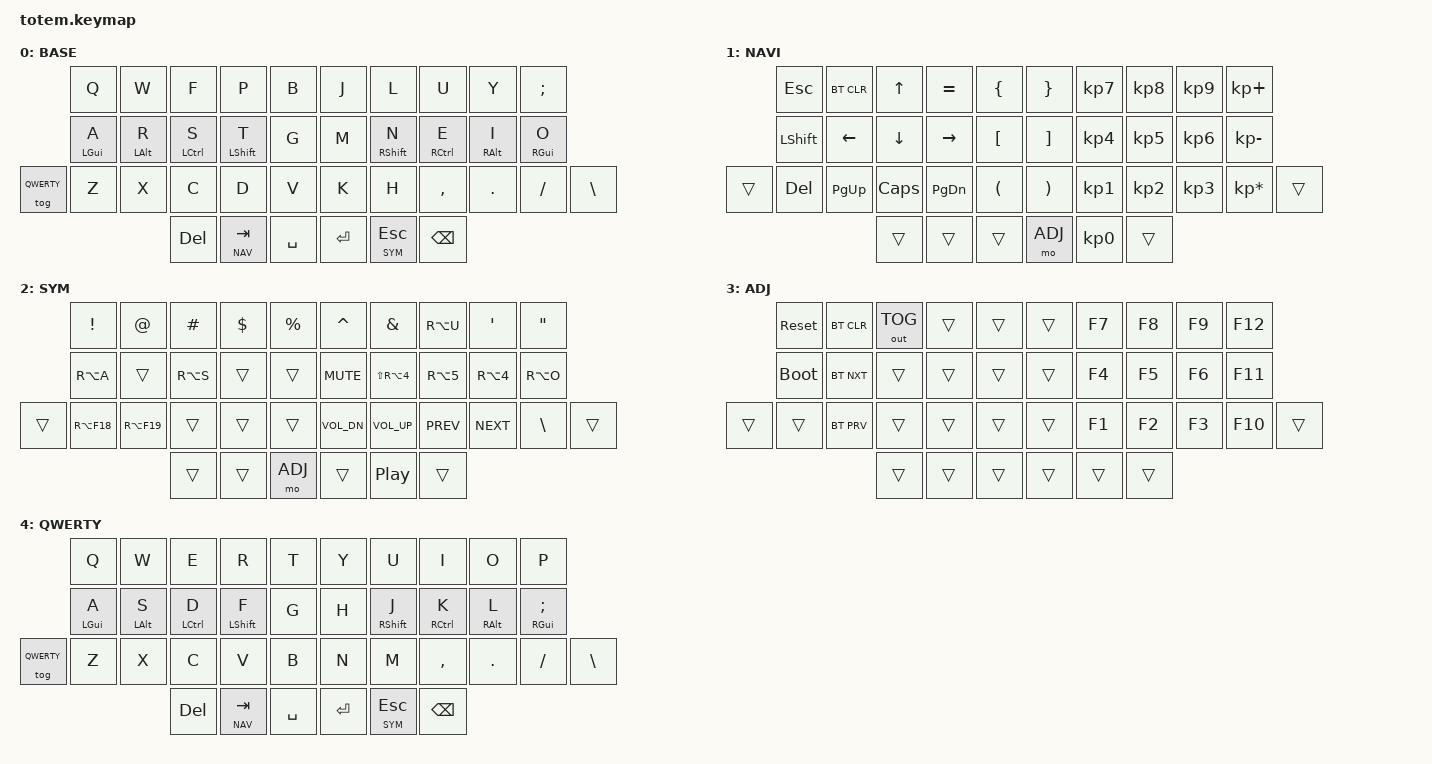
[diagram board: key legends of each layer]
//
//                                                        ▀▀▀▀▀     ▀▀▀▀▀          ▀▀█▀▀
//                                                        ▄▀▀▀▄  ▄  ▄▀▀▀▄  ▄  ▄▀▀▀▄  █  ▄▀▀▀▄
//                                                        █   █  █  █   █  █  █   █  █  █   █
//                                                         ▀▀▀   █   ▀▀▀   █   ▀▀▀   ▀   ▀▀▀
//                                                               █      ▄▄▄█▄▄▄    █   █
//                                                               ▀      █  █  █     █▄█
//                                                             ▀▀▀▀▀    █  █  █      ▀
//                                                                      ▀  ▀  ▀
//
// ▄▄▄▄▄▄▄▄▄▄▄▄▄▄▄▄▄▄▄▄▄▄▄▄▄▄▄▄▄▄▄▄▄▄▄▄▄▄▄▄▄▄▄▄▄▄▄▄▄▄▄▄▄▄▄▄▄▄▄▄▄▄▄▄▄▄▄▄▄▄▄▄▄▄▄▄▄▄▄▄▄▄▄▄▄▄▄▄▄▄▄▄▄▄▄▄▄▄▄▄▄▄▄▄▄▄▄▄▄▄▄▄▄▄▄▄▄▄▄▄▄▄▄▄▄▄▄▄▄▄▄▄▄▄▄▄▄▄▄▄▄▄▄▄▄▄▄▄▄


#include <behaviors.dtsi>
#include <dt-bindings/zmk/keys.h>
#include <dt-bindings/zmk/bt.h>
#include <dt-bindings/zmk/outputs.h>

#include "zmk-helpers/helper.h"

// Source desired key-position labels
#include "zmk-helpers/key-labels/totem.h"

#define BASE 0
#define NAV  1
#define SYM  2
#define ADJ  3
#define QWERTY 4

/* Timeless homerow mods */

// https://github.com/urob/zmk-config/tree/main#timeless-homerow-mods
#define KEYS_L LT0 LT1 LT2 LT3 LT4 LM0 LM1 LM2 LM3 LM4 LB0 LB1 LB2 LB3 LB4 LB5  // left hand
#define KEYS_R RT0 RT1 RT2 RT3 RT4 RM0 RM1 RM2 RM3 RM4 RB0 RB1 RB2 RB3 RB4 RB5  // right hand
#define THUMBS LH2 LH1 LH0 RH0 RH1 RH2                                          // thumbs

/ {
        keymap {
                compatible = "zmk,keymap";
// ▄▄▄▄▄▄▄▄▄▄▄▄▄▄▄▄▄▄▄▄▄▄▄▄▄▄▄▄▄▄▄▄▄▄▄▄▄▄▄▄▄▄▄▄▄▄▄▄▄▄▄▄▄▄▄▄▄▄▄▄▄▄▄▄▄▄▄▄▄▄▄▄▄▄▄▄▄▄▄▄▄▄▄▄▄▄▄▄▄▄▄▄▄▄▄▄▄▄▄▄▄▄▄▄▄▄▄▄▄▄▄▄▄▄▄▄▄▄▄▄▄▄▄▄▄▄▄▄▄▄▄▄▄▄▄▄▄▄▄▄▄▄▄▄▄▄▄▄▄

                base_layer {
// ┏━━━━━━━━━━━━━━━━━━━━━━━━━━━━━━━━━━━━━━━┓
label= "BASE"                              ;
// ┗━━━━━━━━━━━━━━━━━━━━━━━━━━━━━━━━━━━━━━━┛
//             ┏━━━━━━━━━━━┳━━━━━━━━━━━┳━━━━━━━━━━━┳━━━━━━━━━━━┳━━━━━━━━━━━┓   ┏━━━━━━━━━━━┳━━━━━━━━━━━┳━━━━━━━━━━━┳━━━━━━━━━━━┳━━━━━━━━━━━┓
//             ┃     Q     ┃     W     ┃     F     ┃     P     ┃     B     ┃   ┃     J     ┃     L     ┃     U     ┃     Y     ┃     ;     ┃
//             ┣━━━━━━━━━━━╋━━━━━━━━━━━╋━━━━━━━━━━━╋━━━━━━━━━━━╋━━━━━━━━━━━┫   ┣━━━━━━━━━━━╋━━━━━━━━━━━╋━━━━━━━━━━━╋━━━━━━━━━━━╋━━━━━━━━━━━┫
//             ┃     A     ┃     R     ┃     S     ┃     T     ┃     G     ┃   ┃     M     ┃     N     ┃     E     ┃     I     ┃     O     ┃
// ┏━━━━━━━━━━━╋━━━━━━━━━━━╋━━━━━━━━━━━╋━━━━━━━━━━━╋━━━━━━━━━━━╋━━━━━━━━━━━┫   ┣━━━━━━━━━━━╋━━━━━━━━━━━╋━━━━━━━━━━━╋━━━━━━━━━━━╋━━━━━━━━━━━╋━━━━━━━━━━━┓
// ┃  QWERTY   ┃     Z     ┃     X     ┃     C     ┃     D     ┃     V     ┃   ┃     K     ┃     H     ┃     ,     ┃     .     ┃     /     ┃     \     ┃
// ┗━━━━━━━━━━━┻━━━━━━━━━━━┻━━━━━━━━━━━╋━━━━━━━━━━━╋━━━━━━━━━━━╋━━━━━━━━━━━┫   ┣━━━━━━━━━━━╋━━━━━━━━━━━╋━━━━━━━━━━━╋━━━━━━━━━━━┻━━━━━━━━━━━┻━━━━━━━━━━━┛
//                                     ┃    DEL    ┃    TAB    ┃    SPC    ┃   ┃   ENTER   ┃    ESC    ┃   BSPC    ┃
//                                     ┗━━━━━━━━━━━┻━━━━━━━━━━━┻━━━━━━━━━━━┛   ┗━━━━━━━━━━━┻━━━━━━━━━━━┻━━━━━━━━━━━┛
 bindings = <
// ╷           ╷           ╷           ╷           ╷           ╷           ╷   ╷           ╷           ╷           ╷           ╷           ╷           ╷

                &kp Q       &kp W       &kp F       &kp P       &kp B           &kp J       &kp L       &kp U       &kp Y       &kp SEMI
                &hml LGUI A &hml LALT R &hml LCTRL S &hml LSHFT T &kp G         &kp M       &hmr RSHFT N &hmr RCTRL E &hmr RALT I  &hmr RGUI O
    &tog QWERTY &kp Z       &kp X       &kp C       &kp D       &kp V           &kp K       &kp H       &kp COMMA   &kp DOT     &kp FSLH    &kp BSLH
                                        &kp DEL   &lt NAV TAB   &kp SPACE       &kp RET   &lt SYM ESC   &kp BSPC
                        >;
                };

// ▄▄▄▄▄▄▄▄▄▄▄▄▄▄▄▄▄▄▄▄▄▄▄▄▄▄▄▄▄▄▄▄▄▄▄▄▄▄▄▄▄▄▄▄▄▄▄▄▄▄▄▄▄▄▄▄▄▄▄▄▄▄▄▄▄▄▄▄▄▄▄▄▄▄▄▄▄▄▄▄▄▄▄▄▄▄▄▄▄▄▄▄▄▄▄▄▄▄▄▄▄▄▄▄▄▄▄▄▄▄▄▄▄▄▄▄▄▄▄▄▄▄▄▄▄▄▄▄▄▄▄▄▄▄▄▄▄▄▄▄▄▄▄▄▄▄▄▄▄


                nav_layer {
// ┏━━━━━━━━━━━━━━━━━━━━━━━━━━━━━━━━━━━━━━━┓
label= "NAVI"                              ;
// ┗━━━━━━━━━━━━━━━━━━━━━━━━━━━━━━━━━━━━━━━┛
//             ┏━━━━━━━━━━━┳━━━━━━━━━━━┳━━━━━━━━━━━┳━━━━━━━━━━━┳━━━━━━━━━━━┓   ┏━━━━━━━━━━━┳━━━━━━━━━━━┳━━━━━━━━━━━┳━━━━━━━━━━━┳━━━━━━━━━━━┓
//             ┃           ┃           ┃     UP    ┃           ┃     {     ┃   ┃     }     ┃     7     ┃     8     ┃     9     ┃     +     ┃
//             ┣━━━━━━━━━━━╋━━━━━━━━━━━╋━━━━━━━━━━━╋━━━━━━━━━━━╋━━━━━━━━━━━┫   ┣━━━━━━━━━━━╋━━━━━━━━━━━╋━━━━━━━━━━━╋━━━━━━━━━━━╋━━━━━━━━━━━┫
//             ┃   SHIFT   ┃   LEFT    ┃    DOWN   ┃   RIGHT   ┃     [     ┃   ┃     ]     ┃     4     ┃     5     ┃     6     ┃     -     ┃
// ┏━━━━━━━━━━━╋━━━━━━━━━━━╋━━━━━━━━━━━╋━━━━━━━━━━━╋━━━━━━━━━━━╋━━━━━━━━━━━┫   ┣━━━━━━━━━━━╋━━━━━━━━━━━╋━━━━━━━━━━━╋━━━━━━━━━━━╋━━━━━━━━━━━╋━━━━━━━━━━━┓
// ┃           ┃           ┃   P UP    ┃  C LOCK   ┃  P DOWN   ┃     (     ┃   ┃     )     ┃     1     ┃     2     ┃     3     ┃     *     ┃           ┃
// ┗━━━━━━━━━━━┻━━━━━━━━━━━┻━━━━━━━━━━━╋━━━━━━━━━━━╋━━━━━━━━━━━╋━━━━━━━━━━━┫   ┣━━━━━━━━━━━╋━━━━━━━━━━━╋━━━━━━━━━━━╋━━━━━━━━━━━┻━━━━━━━━━━━┻━━━━━━━━━━━┛
//                                     ┃           ┃    TAB    ┃    SPC    ┃   ┃    DEL    ┃     0     ┃           ┃
//                                     ┗━━━━━━━━━━━┻━━━━━━━━━━━┻━━━━━━━━━━━┛   ┗━━━━━━━━━━━┻━━━━━━━━━━━┻━━━━━━━━━━━┛
 bindings = <
// ╷           ╷           ╷           ╷           ╷           ╷           ╷   ╷           ╷           ╷           ╷           ╷           ╷           ╷

                &kp ESC     &bt BT_CLR  &kp UP      &kp EQUAL   &kp LBRC        &kp RBRC    &kp KP_N7   &kp KP_N8   &kp KP_N9   &kp KP_PLUS
                &kp LSHFT   &kp LEFT    &kp DOWN    &kp RIGHT   &kp LBKT        &kp RBKT    &kp KP_N4   &kp KP_N5   &kp KP_N6   &kp KP_MINUS
    &trans      &kp DEL     &kp PG_UP   &kp CAPS    &kp PG_DN   &kp LPAR        &kp RPAR    &kp KP_N1   &kp KP_N2   &kp KP_N3   &kp KP_MULTIPLY &trans
                                        &trans      &trans      &trans          &mo ADJ     &kp KP_N0   &trans
                        >;
                };

// ▄▄▄▄▄▄▄▄▄▄▄▄▄▄▄▄▄▄▄▄▄▄▄▄▄▄▄▄▄▄▄▄▄▄▄▄▄▄▄▄▄▄▄▄▄▄▄▄▄▄▄▄▄▄▄▄▄▄▄▄▄▄▄▄▄▄▄▄▄▄▄▄▄▄▄▄▄▄▄▄▄▄▄▄▄▄▄▄▄▄▄▄▄▄▄▄▄▄▄▄▄▄▄▄▄▄▄▄▄▄▄▄▄▄▄▄▄▄▄▄▄▄▄▄▄▄▄▄▄▄▄▄▄▄▄▄▄▄▄▄▄▄▄▄▄▄▄▄▄


                sim_layer {
// ┏━━━━━━━━━━━━━━━━━━━━━━━━━━━━━━━━━━━━━━━┓
label= "SYM"                               ;
// ┗━━━━━━━━━━━━━━━━━━━━━━━━━━━━━━━━━━━━━━━┛
//             ┏━━━━━━━━━━━┳━━━━━━━━━━━┳━━━━━━━━━━━┳━━━━━━━━━━━┳━━━━━━━━━━━┓   ┏━━━━━━━━━━━┳━━━━━━━━━━━┳━━━━━━━━━━━┳━━━━━━━━━━━┳━━━━━━━━━━━┓
//             ┃     !     ┃     @     ┃     #     ┃     $     ┃     %     ┃   ┃     ˆ     ┃     &     ┃     Ü     ┃     '     ┃     "     ┃
//             ┣━━━━━━━━━━━╋━━━━━━━━━━━╋━━━━━━━━━━━╋━━━━━━━━━━━╋━━━━━━━━━━━┫   ┣━━━━━━━━━━━╋━━━━━━━━━━━╋━━━━━━━━━━━╋━━━━━━━━━━━╋━━━━━━━━━━━┫
//             ┃     Ä     ┃           ┃    SZ     ┃           ┃           ┃   ┃   MUTE    ┃   YEN     ┃   EURO    ┃  POUND    ┃     Ö     ┃
// ┏━━━━━━━━━━━╋━━━━━━━━━━━╋━━━━━━━━━━━╋━━━━━━━━━━━╋━━━━━━━━━━━╋━━━━━━━━━━━┫   ┣━━━━━━━━━━━╋━━━━━━━━━━━╋━━━━━━━━━━━╋━━━━━━━━━━━╋━━━━━━━━━━━╋━━━━━━━━━━━┓
// ┃           ┃  EMAIL1   ┃  EMAIL2   ┃           ┃           ┃           ┃   ┃   VOL-    ┃   VOL+    ┃   LAST    ┃   NEXT    ┃     \     ┃           ┃
// ┗━━━━━━━━━━━┻━━━━━━━━━━━┻━━━━━━━━━━━╋━━━━━━━━━━━╋━━━━━━━━━━━╋━━━━━━━━━━━┫   ┣━━━━━━━━━━━╋━━━━━━━━━━━╋━━━━━━━━━━━╋━━━━━━━━━━━┻━━━━━━━━━━━┻━━━━━━━━━━━┛
//                                     ┃           ┃           ┃    ADJ    ┃   ┃           ┃           ┃           ┃
//                                     ┗━━━━━━━━━━━┻━━━━━━━━━━━┻━━━━━━━━━━━┛   ┗━━━━━━━━━━━┻━━━━━━━━━━━┻━━━━━━━━━━━┛
 bindings = <
// ╷           ╷           ╷           ╷           ╷           ╷           ╷   ╷           ╷           ╷           ╷           ╷           ╷           ╷

                &kp EXCL    &kp AT      &kp HASH    &kp DLLR    &kp PRCNT       &kp CARET   &kp AMPS    &kp RA(U)   &kp SQT     &kp DQT
                &kp RA(A)   &trans      &kp RA(S)   &trans      &trans          &kp C_MUTE  &kp LS(RA(N4)) &kp RA(N5) &kp RA(N4)   &kp RA(O)
    &trans      &kp RA(F18) &kp RA(F19) &trans      &trans      &trans          &kp C_VOL_DN &kp C_VOL_UP &kp C_PREV &kp C_NEXT  &kp BSLH   &trans
                                        &trans      &trans      &mo ADJ         &trans       &kp C_PP     &trans
                        >;
                };

// ▄▄▄▄▄▄▄▄▄▄▄▄▄▄▄▄▄▄▄▄▄▄▄▄▄▄▄▄▄▄▄▄▄▄▄▄▄▄▄▄▄▄▄▄▄▄▄▄▄▄▄▄▄▄▄▄▄▄▄▄▄▄▄▄▄▄▄▄▄▄▄▄▄▄▄▄▄▄▄▄▄▄▄▄▄▄▄▄▄▄▄▄▄▄▄▄▄▄▄▄▄▄▄▄▄▄▄▄▄▄▄▄▄▄▄▄▄▄▄▄▄▄▄▄▄▄▄▄▄▄▄▄▄▄▄▄▄▄▄▄▄▄▄▄▄▄▄▄▄


                adjust_layer {
// ┏━━━━━━━━━━━━━━━━━━━━━━━━━━━━━━━━━━━━━━━┓
label= "ADJ"                               ;
// ┗━━━━━━━━━━━━━━━━━━━━━━━━━━━━━━━━━━━━━━━┛
//             ┏━━━━━━━━━━━┳━━━━━━━━━━━┳━━━━━━━━━━━┳━━━━━━━━━━━┳━━━━━━━━━━━┓   ┏━━━━━━━━━━━┳━━━━━━━━━━━┳━━━━━━━━━━━┳━━━━━━━━━━━┳━━━━━━━━━━━┓
//             ┃   RESET   ┃ BT CLEAR  ┃  OUT TOG  ┃           ┃           ┃   ┃           ┃    F7     ┃    F8     ┃    F9     ┃    F12    ┃
//             ┣━━━━━━━━━━━╋━━━━━━━━━━━╋━━━━━━━━━━━╋━━━━━━━━━━━╋━━━━━━━━━━━┫   ┣━━━━━━━━━━━╋━━━━━━━━━━━╋━━━━━━━━━━━╋━━━━━━━━━━━╋━━━━━━━━━━━┫
//             ┃ BOOTLOAD  ┃ BT NEXT   ┃           ┃           ┃           ┃   ┃           ┃    F4     ┃    F5     ┃    F6     ┃    F11    ┃
// ┏━━━━━━━━━━━╋━━━━━━━━━━━╋━━━━━━━━━━━╋━━━━━━━━━━━╋━━━━━━━━━━━╋━━━━━━━━━━━┫   ┣━━━━━━━━━━━╋━━━━━━━━━━━╋━━━━━━━━━━━╋━━━━━━━━━━━╋━━━━━━━━━━━╋━━━━━━━━━━━┓
// ┃           ┃           ┃ BT PREV   ┃           ┃           ┃           ┃   ┃           ┃    F1     ┃    F2     ┃    F3     ┃    F10    ┃           ┃
// ┗━━━━━━━━━━━┻━━━━━━━━━━━┻━━━━━━━━━━━╋━━━━━━━━━━━╋━━━━━━━━━━━╋━━━━━━━━━━━┫   ┣━━━━━━━━━━━╋━━━━━━━━━━━╋━━━━━━━━━━━╋━━━━━━━━━━━┻━━━━━━━━━━━┻━━━━━━━━━━━┛
//                                     ┃           ┃           ┃           ┃   ┃           ┃           ┃           ┃
//                                     ┗━━━━━━━━━━━┻━━━━━━━━━━━┻━━━━━━━━━━━┛   ┗━━━━━━━━━━━┻━━━━━━━━━━━┻━━━━━━━━━━━┛
 bindings = <
// ╷           ╷           ╷           ╷           ╷           ╷           ╷   ╷           ╷           ╷           ╷           ╷           ╷           ╷

                &sys_reset  &bt BT_CLR &out OUT_TOG &trans      &trans          &trans      &kp F7      &kp F8      &kp F9      &kp F12
                &bootloader &bt BT_NXT  &trans      &trans      &trans          &trans      &kp F4      &kp F5      &kp F6      &kp F11
    &trans      &trans      &bt BT_PRV  &trans      &trans      &trans          &trans      &kp F1      &kp F2      &kp F3      &kp F10     &trans
                                        &trans      &trans      &trans          &trans      &trans      &trans
                        >;
                };

// ▄▄▄▄▄▄▄▄▄▄▄▄▄▄▄▄▄▄▄▄▄▄▄▄▄▄▄▄▄▄▄▄▄▄▄▄▄▄▄▄▄▄▄▄▄▄▄▄▄▄▄▄▄▄▄▄▄▄▄▄▄▄▄▄▄▄▄▄▄▄▄▄▄▄▄▄▄▄▄▄▄▄▄▄▄▄▄▄▄▄▄▄▄▄▄▄▄▄▄▄▄▄▄▄▄▄▄▄▄▄▄▄▄▄▄▄▄▄▄▄▄▄▄▄▄▄▄▄▄▄▄▄▄▄▄▄▄▄▄▄▄▄▄▄▄▄▄▄▄

                qwerty_layer {
// ┏━━━━━━━━━━━━━━━━━━━━━━━━━━━━━━━━━━━━━━━┓
label= "QWERTY"                            ;
// ┗━━━━━━━━━━━━━━━━━━━━━━━━━━━━━━━━━━━━━━━┛
//             ┏━━━━━━━━━━━┳━━━━━━━━━━━┳━━━━━━━━━━━┳━━━━━━━━━━━┳━━━━━━━━━━━┓   ┏━━━━━━━━━━━┳━━━━━━━━━━━┳━━━━━━━━━━━┳━━━━━━━━━━━┳━━━━━━━━━━━┓
//             ┃     Q     ┃     W     ┃     E     ┃     R     ┃     T     ┃   ┃     Y     ┃     U     ┃     I     ┃     O     ┃     P     ┃
//             ┣━━━━━━━━━━━╋━━━━━━━━━━━╋━━━━━━━━━━━╋━━━━━━━━━━━╋━━━━━━━━━━━┫   ┣━━━━━━━━━━━╋━━━━━━━━━━━╋━━━━━━━━━━━╋━━━━━━━━━━━╋━━━━━━━━━━━┫
//             ┃     A     ┃     S     ┃     D     ┃     F     ┃     G     ┃   ┃     H     ┃     J     ┃     K     ┃     L     ┃     ;     ┃
// ┏━━━━━━━━━━━╋━━━━━━━━━━━╋━━━━━━━━━━━╋━━━━━━━━━━━╋━━━━━━━━━━━╋━━━━━━━━━━━┫   ┣━━━━━━━━━━━╋━━━━━━━━━━━╋━━━━━━━━━━━╋━━━━━━━━━━━╋━━━━━━━━━━━╋━━━━━━━━━━━┓
// ┃   BASE    ┃     Z     ┃     X     ┃     C     ┃     V     ┃     B     ┃   ┃     N     ┃     M     ┃     ,     ┃     .     ┃     /     ┃     \     ┃
// ┗━━━━━━━━━━━┻━━━━━━━━━━━┻━━━━━━━━━━━╋━━━━━━━━━━━╋━━━━━━━━━━━╋━━━━━━━━━━━┫   ┣━━━━━━━━━━━╋━━━━━━━━━━━╋━━━━━━━━━━━╋━━━━━━━━━━━┻━━━━━━━━━━━┻━━━━━━━━━━━┛
//                                     ┃    DEL    ┃    TAB    ┃    SPC    ┃   ┃   ENTER   ┃    ESC    ┃   BSPC    ┃
//                                     ┗━━━━━━━━━━━┻━━━━━━━━━━━┻━━━━━━━━━━━┛   ┗━━━━━━━━━━━┻━━━━━━━━━━━┻━━━━━━━━━━━┛
 bindings = <
// ╷           ╷           ╷           ╷           ╷           ╷           ╷   ╷           ╷           ╷           ╷           ╷           ╷           ╷

                &kp Q       &kp W       &kp E       &kp R       &kp T           &kp Y       &kp U       &kp I       &kp O       &kp P
                &hml LGUI A  &hml LALT S &hml LCTRL D &hml LSHFT F &kp G        &kp H       &hmr RSHFT J &hmr RCTRL K &hmr RALT L  &hmr RGUI SEMI
    &tog QWERTY &kp Z       &kp X       &kp C       &kp V       &kp B           &kp N       &kp M       &kp COMMA   &kp DOT     &kp FSLH    &kp BSLH
                                        &kp DEL   &lt NAV TAB   &kp SPACE       &kp RET   &lt SYM ESC   &kp BSPC
                        >;
                };
        };
};

/* left-hand HRMs */
ZMK_HOLD_TAP(hml,
    flavor = "balanced";
    tapping-term-ms = <400>;
    quick-tap-ms = <175>;                // repeat on tap-into-hold
    require-prior-idle-ms = <150>;
    bindings = <&kp>, <&kp>;
    hold-trigger-key-positions = <KEYS_R THUMBS>;
    hold-trigger-on-release;             // delay positional check until key-release
)

/* right-hand HRMs */
ZMK_HOLD_TAP(hmr,
    flavor = "balanced";
    tapping-term-ms = <400>;
    quick-tap-ms = <175>;                // repeat on tap-into-hold
    require-prior-idle-ms = <150>;
    bindings = <&kp>, <&kp>;
    hold-trigger-key-positions = <KEYS_L THUMBS>;
    hold-trigger-on-release;             // delay positional check until key-release
)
